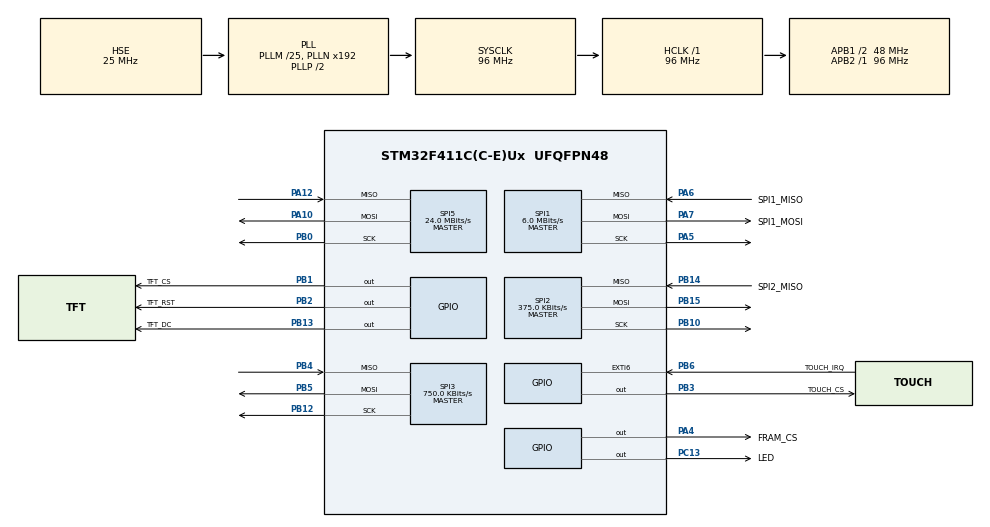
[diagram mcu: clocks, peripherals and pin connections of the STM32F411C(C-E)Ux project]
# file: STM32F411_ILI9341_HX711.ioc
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Dma.Request0=SPI2_TX
Dma.Request1=SPI5_TX
Dma.Request2=SPI2_RX
Dma.SPI2_RX.2.Direction=DMA_PERIPH_TO_MEMORY
Dma.SPI2_RX.2.FIFOMode=DMA_FIFOMODE_DISABLE
Dma.SPI2_RX.2.Instance=DMA1_Stream3
Dma.SPI2_RX.2.MemDataAlignment=DMA_MDATAALIGN_BYTE
Dma.SPI2_RX.2.MemInc=DMA_MINC_ENABLE
Dma.SPI2_RX.2.Mode=DMA_NORMAL
Dma.SPI2_RX.2.PeriphDataAlignment=DMA_PDATAALIGN_BYTE
Dma.SPI2_RX.2.PeriphInc=DMA_PINC_DISABLE
Dma.SPI2_RX.2.Priority=DMA_PRIORITY_LOW
Dma.SPI2_TX.0.Direction=DMA_MEMORY_TO_PERIPH
Dma.SPI2_TX.0.FIFOMode=DMA_FIFOMODE_DISABLE
Dma.SPI2_TX.0.Instance=DMA1_Stream4
Dma.SPI2_TX.0.MemDataAlignment=DMA_MDATAALIGN_BYTE
Dma.SPI2_TX.0.MemInc=DMA_MINC_ENABLE
Dma.SPI2_TX.0.Mode=DMA_NORMAL
Dma.SPI2_TX.0.PeriphDataAlignment=DMA_PDATAALIGN_BYTE
Dma.SPI2_TX.0.PeriphInc=DMA_PINC_DISABLE
Dma.SPI2_TX.0.Priority=DMA_PRIORITY_LOW
Dma.SPI5_TX.1.Direction=DMA_MEMORY_TO_PERIPH
Dma.SPI5_TX.1.FIFOMode=DMA_FIFOMODE_DISABLE
Dma.SPI5_TX.1.Instance=DMA2_Stream4
Dma.SPI5_TX.1.MemDataAlignment=DMA_MDATAALIGN_BYTE
Dma.SPI5_TX.1.MemInc=DMA_MINC_ENABLE
Dma.SPI5_TX.1.Mode=DMA_NORMAL
Dma.SPI5_TX.1.PeriphDataAlignment=DMA_PDATAALIGN_BYTE
Dma.SPI5_TX.1.PeriphInc=DMA_PINC_DISABLE
Dma.SPI5_TX.1.Priority=DMA_PRIORITY_LOW
Mcu.Family=STM32F4
Mcu.Name=STM32F411C(C-E)Ux
Mcu.Package=UFQFPN48
NVIC.DMA1_Stream3_IRQn=true\:0\:0\:false\:false\:true\:false\:true\:true
NVIC.DMA1_Stream4_IRQn=true\:0\:0\:false\:false\:true\:false\:true\:true
NVIC.DMA2_Stream4_IRQn=true\:0\:0\:false\:true\:true\:2\:false\:true\:true
NVIC.EXTI9_5_IRQn=true\:0\:0\:false\:true\:true\:1\:true\:true\:true
NVIC.PriorityGroup=NVIC_PRIORITYGROUP_4
NVIC.TIM2_IRQn=true\:0\:0\:false\:false\:true\:true\:true\:true
PA10.Mode=Full_Duplex_Master
PA10.Signal=SPI5_MOSI
PA12.Mode=Full_Duplex_Master
PA12.Signal=SPI5_MISO
PA13.Mode=Serial_Wire
PA13.Signal=SYS_JTMS-SWDIO
PA14.Mode=Serial_Wire
PA14.Signal=SYS_JTCK-SWCLK
PA4.GPIO_Label=FRAM_CS
PA4.Signal=GPIO_Output
PA5.Mode=Full_Duplex_Master
PA5.Signal=SPI1_SCK
PA6.GPIO_Label=SPI1_MISO
PA6.Mode=Full_Duplex_Master
PA6.Signal=SPI1_MISO
PA7.GPIO_Label=SPI1_MOSI
PA7.Mode=Full_Duplex_Master
PA7.Signal=SPI1_MOSI
PB0.Mode=Full_Duplex_Master
PB0.Signal=SPI5_SCK
PB1.GPIO_Label=TFT_CS
PB1.Signal=GPIO_Output
PB10.Mode=Full_Duplex_Master
PB10.Signal=SPI2_SCK
PB12.Mode=Full_Duplex_Master
PB12.Signal=SPI3_SCK
PB13.GPIO_Label=TFT_DC
PB13.Signal=GPIO_Output
PB14.GPIO_Label=SPI2_MISO
PB14.Mode=Full_Duplex_Master
PB14.Signal=SPI2_MISO
PB15.Mode=Full_Duplex_Master
PB15.Signal=SPI2_MOSI
PB2.GPIO_Label=TFT_RST
PB2.GPIO_PuPd=GPIO_PULLUP
PB2.PinState=GPIO_PIN_SET
PB2.Signal=GPIO_Output
PB3.GPIO_Label=TOUCH_CS
PB3.Signal=GPIO_Output
PB4.Mode=Full_Duplex_Master
PB4.Signal=SPI3_MISO
PB5.Mode=Full_Duplex_Master
PB5.Signal=SPI3_MOSI
PB6.GPIO_Label=TOUCH_IRQ
PB6.GPIO_ModeDefaultEXTI=GPIO_MODE_IT_FALLING
PB6.Signal=GPXTI6
PC13-ANTI_TAMP.GPIO_Label=LED
PC13-ANTI_TAMP.Signal=GPIO_Output
PC14-OSC32_IN.Mode=LSE-External-Oscillator
PC14-OSC32_IN.Signal=RCC_OSC32_IN
PC15-OSC32_OUT.Mode=LSE-External-Oscillator
PC15-OSC32_OUT.Signal=RCC_OSC32_OUT
PH0\ -\ OSC_IN.Mode=HSE-External-Oscillator
PH0\ -\ OSC_IN.Signal=RCC_OSC_IN
PH1\ -\ OSC_OUT.Mode=HSE-External-Oscillator
PH1\ -\ OSC_OUT.Signal=RCC_OSC_OUT
ProjectManager.HeapSize=0x200
ProjectManager.StackSize=0x400
ProjectManager.TargetToolchain=STM32CubeIDE
RCC.48MHZClocksFreq_Value=48000000
RCC.AHBFreq_Value=96000000
RCC.APB1CLKDivider=RCC_HCLK_DIV2
RCC.APB1Freq_Value=48000000
RCC.APB1TimFreq_Value=96000000
RCC.APB2Freq_Value=96000000
RCC.APB2TimFreq_Value=96000000
RCC.CortexFreq_Value=96000000
RCC.HCLKFreq_Value=96000000
RCC.HSE_VALUE=25000000
RCC.HSI_VALUE=16000000
RCC.PLLM=25
RCC.PLLSourceVirtual=RCC_PLLSOURCE_HSE
RCC.SYSCLKFreq_VALUE=96000000
RCC.SYSCLKSource=RCC_SYSCLKSOURCE_PLLCLK
RCC.VCOOutputFreq_Value=192000000
SPI1.BaudRatePrescaler=SPI_BAUDRATEPRESCALER_16
SPI1.CalculateBaudRate=6.0 MBits/s
SPI1.Direction=SPI_DIRECTION_2LINES
SPI1.Mode=SPI_MODE_MASTER
SPI1.VirtualType=VM_MASTER
SPI2.BaudRatePrescaler=SPI_BAUDRATEPRESCALER_128
SPI2.CalculateBaudRate=375.0 KBits/s
SPI2.Direction=SPI_DIRECTION_2LINES
SPI2.Mode=SPI_MODE_MASTER
SPI2.VirtualType=VM_MASTER
SPI3.BaudRatePrescaler=SPI_BAUDRATEPRESCALER_64
SPI3.CalculateBaudRate=750.0 KBits/s
SPI3.Direction=SPI_DIRECTION_2LINES
SPI3.Mode=SPI_MODE_MASTER
SPI3.VirtualType=VM_MASTER
SPI5.BaudRatePrescaler=SPI_BAUDRATEPRESCALER_4
SPI5.CalculateBaudRate=24.0 MBits/s
SPI5.Direction=SPI_DIRECTION_2LINES
SPI5.Mode=SPI_MODE_MASTER
SPI5.VirtualType=VM_MASTER
STMicroelectronics.X-CUBE-TOUCHGFX.4.23.2.ApplicationCcGraphicsJjApplication=TouchGFXOoGenerator
STMicroelectronics.X-CUBE-TOUCHGFX.4.23.2.tgfx_block_size=25600
STMicroelectronics.X-CUBE-TOUCHGFX.4.23.2.tgfx_buffering_strategy=Partial
STMicroelectronics.X-CUBE-TOUCHGFX.4.23.2.tgfx_custom_height=240
STMicroelectronics.X-CUBE-TOUCHGFX.4.23.2.tgfx_custom_width=320
STMicroelectronics.X-CUBE-TOUCHGFX.4.23.2_IsPackSelfContextualization=true
TIM2.Period=15
TIM2.Prescaler=47999
VP_CRC_VS_CRC.Mode=CRC_Activate
VP_STMicroelectronics.X-CUBE-TOUCHGFX_VS_GraphicsJjApplication_4.23.2.Mode=GraphicsJjApplication
VP_TIM2_VS_ClockSourceINT.Mode=Internal
board=custom

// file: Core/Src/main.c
/* USER CODE BEGIN Header */
/**
  ******************************************************************************
  * @file           : main.c
  * @brief          : Main program body
  ******************************************************************************
  * @attention
  *
  * Copyright (c) 2023 STMicroelectronics.
  * All rights reserved.
  *
  * This software is licensed under terms that can be found in the LICENSE file
  * in the root directory of this software component.
  * If no LICENSE file comes with this software, it is provided AS-IS.
  *
  ******************************************************************************
  */
/* USER CODE END Header */
#include "main.h"
#include "crc.h"
#include "dma.h"
#include "spi.h"
#include "tim.h"
#include "gpio.h"
#include "app_touchgfx.h"

/* USER CODE BEGIN Includes */

#include "../../Drivers/MB85RS64V/fram.h"
#include "../../Drivers/ili9341/core.h"
#include "../../Drivers/XPT2046/XPT2046.h"
#include "simple_filters.h"
#include "math.h"
/* USER CODE END Includes */

/* USER CODE BEGIN PD */
#define FRAM_CS_DISABLE HAL_GPIO_WritePin(FRAM_CS_GPIO_Port, FRAM_CS_Pin, 1)
#define DISPLAY_REFRESH_DELAY_MS 500
/* USER CODE END PD */

/* USER CODE BEGIN PV */

//typedef struct
//{
//	int32_t weight_avg;;
//	uint32_t raw_avg;
//} weight_data_avg_t;

uint8_t TxData[8] = { 0b0000000, 0x00000001, 0b01010101, 0b01010101, 0b01010101, 0b01010101, 0b01010101, 0b01010101 };  // clock, 25 ticks
uint8_t RxData[8];
//uint64_t raw_reading;
uint8_t sensor_read_flag = 0;

int32_t weight_avg;
uint32_t raw_avg;
uint32_t raw_avg_offset;
uint32_t SoftTimer;

//double CalibrationX0 = 0;
//double CalibrationY0 = 0;
//double CalibrationX1 = 0;
//double CalibrationY1 = 0;
uint32_t CalibrationX0 = CALIBRATION_X0;
uint32_t CalibrationY0 = CALIBRATION_Y0;
uint32_t CalibrationX1 = CALIBRATION_X1;
uint32_t CalibrationY1 = CALIBRATION_Y1;

/* USER CODE END PV */

void SystemClock_Config(void);
static void MX_NVIC_Init(void);
/* USER CODE BEGIN PFP */

int32_t get_weight(uint64_t  result);
uint64_t get_raw_weight();
void doMeasure (void);
void doMemories(void);

void HAL_SPI_TxRxCpltCallback(SPI_HandleTypeDef *hspi)
{
	if (hspi->Instance == SPI2)
	{
		sensor_read_flag = 1;
	}
}

/* USER CODE END PFP */

/* USER CODE BEGIN 0 */
extern void touchgfxSignalVSync(void);

void HAL_TIM_PeriodElapsedCallback(TIM_HandleTypeDef *htim)
{
	if (htim->Instance == TIM2) {
		touchgfxSignalVSync();  //i'am dk why but i turned off the vSync in Cube but i still have to get infi :/
	}
}
/* USER CODE END 0 */

int main(void)
{

  /* MCU Configuration--------------------------------------------------------*/

  /* Reset of all peripherals, Initializes the Flash interface and the Systick. */
  HAL_Init();

  /* Configure the system clock */
  SystemClock_Config();

  /* USER CODE BEGIN SysInit */

  FRAM_CS_DISABLE;

  /* USER CODE END SysInit */

  /* Initialize all configured peripherals */
  MX_GPIO_Init();
  MX_DMA_Init();
  MX_SPI1_Init();
  MX_SPI2_Init();
  MX_SPI3_Init();
  MX_TIM2_Init();
  MX_CRC_Init();
  MX_SPI5_Init();
  MX_TouchGFX_Init();

  /* Initialize interrupts */
  MX_NVIC_Init();
  /* USER CODE BEGIN 2 */
  setSPI_FRAM_Handle(&hspi1);
  FRAM_init();
  doMemories();
  HAL_TIM_Base_Start_IT(&htim2);
  ILI9341_Init();
  XPT2046_Init(&hspi3, EXTI9_5_IRQn);
  touchgfxSignalVSync();

//  DoCalibration();

  HAL_SPI_TransmitReceive_DMA(&hspi2, (uint8_t*) (&TxData),(uint8_t*) (&RxData), sizeof(TxData));
  SoftTimer = HAL_GetTick();
  filter_moving_average_init();
  filter_median_init();
  raw_avg_offset = CalibrationX0;
  /* USER CODE END 2 */

  /* Infinite loop */
  /* USER CODE BEGIN WHILE */
  while (1)
  {

	  XPT2046_Task();

	  doMeasure();

    /* USER CODE END WHILE */

  MX_TouchGFX_Process();
  }
}

void SystemClock_Config(void)
{
  RCC_OscInitTypeDef RCC_OscInitStruct = {0};
  RCC_ClkInitTypeDef RCC_ClkInitStruct = {0};

  /** Configure the main internal regulator output voltage
  */
  __HAL_RCC_PWR_CLK_ENABLE();
  __HAL_PWR_VOLTAGESCALING_CONFIG(PWR_REGULATOR_VOLTAGE_SCALE1);

  /** Initializes the RCC Oscillators according to the specified parameters
  * in the RCC_OscInitTypeDef structure.
  */
  RCC_OscInitStruct.OscillatorType = RCC_OSCILLATORTYPE_HSE;
  RCC_OscInitStruct.HSEState = RCC_HSE_ON;
  RCC_OscInitStruct.PLL.PLLState = RCC_PLL_ON;
  RCC_OscInitStruct.PLL.PLLSource = RCC_PLLSOURCE_HSE;
  RCC_OscInitStruct.PLL.PLLM = 25;
  RCC_OscInitStruct.PLL.PLLN = 192;
  RCC_OscInitStruct.PLL.PLLP = RCC_PLLP_DIV2;
  RCC_OscInitStruct.PLL.PLLQ = 4;
  if (HAL_RCC_OscConfig(&RCC_OscInitStruct) != HAL_OK)
  {
    Error_Handler();
  }

  /** Initializes the CPU, AHB and APB buses clocks
  */
  RCC_ClkInitStruct.ClockType = RCC_CLOCKTYPE_HCLK|RCC_CLOCKTYPE_SYSCLK
                              |RCC_CLOCKTYPE_PCLK1|RCC_CLOCKTYPE_PCLK2;
  RCC_ClkInitStruct.SYSCLKSource = RCC_SYSCLKSOURCE_PLLCLK;
  RCC_ClkInitStruct.AHBCLKDivider = RCC_SYSCLK_DIV1;
  RCC_ClkInitStruct.APB1CLKDivider = RCC_HCLK_DIV2;
  RCC_ClkInitStruct.APB2CLKDivider = RCC_HCLK_DIV1;

  if (HAL_RCC_ClockConfig(&RCC_ClkInitStruct, FLASH_LATENCY_3) != HAL_OK)
  {
    Error_Handler();
  }
}

/**
  * @brief NVIC Configuration.
  * @retval None
  */
static void MX_NVIC_Init(void)
{
  /* EXTI9_5_IRQn interrupt configuration */
  HAL_NVIC_SetPriority(EXTI9_5_IRQn, 0, 0);
  HAL_NVIC_EnableIRQ(EXTI9_5_IRQn);
  /* DMA2_Stream4_IRQn interrupt configuration */
  NVIC_SetPriority(DMA2_Stream4_IRQn, NVIC_EncodePriority(NVIC_GetPriorityGrouping(),0, 0));
  NVIC_EnableIRQ(DMA2_Stream4_IRQn);
}

/* USER CODE BEGIN 4 */

void HAL_GPIO_EXTI_Callback(uint16_t GPIO_Pin)
{
	if(GPIO_Pin == TOUCH_IRQ_Pin)
	{
		XPT2046_IRQ();
	}

}
void doMemories(void)	{

//	typedef union
//	{
//	    uint32_t split[2];
//	    double d_value;
//	} split_double;
//	split_double cx0 = {0};
//	split_double cy0 = {0};
//	split_double cx1 = {0};
//	split_double cy1 = {0};

	uint32_t cx0_value;
	uint32_t cy0_value;
	uint32_t cx1_value;
	uint32_t cy1_value;

	uint8_t memory_init = FRAM_read8(0x0000);
	if (memory_init != 0xCC)	{
		FRAM_write8(0x0000, 0xCC);
		cx0_value = CalibrationX0;
		cy0_value = CalibrationY0;
		cx1_value = CalibrationX1;
		cy1_value = CalibrationY1;
		FRAM_write32(0x0001, cx0_value);
		FRAM_write32(0x0005, cy0_value);
		FRAM_write32(0x0009, cx1_value);
		FRAM_write32(0x000D, cy1_value);
//		FRAM_write32(0x0011, cx1.split[0]);
//		FRAM_write32(0x0015, cx1.split[1]);
//		FRAM_write32(0x0019, cy1.split[0]);
//		FRAM_write32(0x001D, cy1.split[1]);
	}

	else	{

		cx0_value = FRAM_read32(0x0001);
		cy0_value = FRAM_read32(0x0005);
		cx1_value = FRAM_read32(0x0009);
		cy1_value = FRAM_read32(0x000D);
//		cx1.split[0] = FRAM_read32(0x0011);
//		cx1.split[1] = FRAM_read32(0x0015);
//		cy1.split[0] = FRAM_read32(0x0019);
//		cy1.split[1] = FRAM_read32(0x001D);

		CalibrationX0 = cx0_value;
		CalibrationY0 = cy0_value;
		CalibrationX1 = cx1_value;
		CalibrationY1 = cy1_value;
	}

}

void saveMemories(void)	{

//	typedef union
//	{
//	    uint32_t split[2];
//	    double d_value;
//	} split_double;
//	split_double cx0 = {0};
//	split_double cy0 = {0};
//	split_double cx1 = {0};
//	split_double cy1 = {0};
//	cx0.d_value = CalibrationX0;
//	cy0.d_value = CalibrationY0;
//	cx1.d_value = CalibrationX1;
//	cy1.d_value = CalibrationY1;

	uint32_t  cx0_value = CalibrationX0;
	uint32_t  cy0_value = CalibrationY0;
	uint32_t  cx1_value = CalibrationX1;
	uint32_t  cy1_value = CalibrationY1;

	uint8_t memory_init = FRAM_read8(0x0000);
	if (memory_init == 0xCC)	{
		//FRAM_write8(0x0000, 0xCC);
		FRAM_write32(0x0001, cx0_value);
		FRAM_write32(0x0005, cy0_value);
		FRAM_write32(0x0009, cx1_value);
		FRAM_write32(0x000D, cy1_value);
//		FRAM_write32(0x0011, cx1.split[0]);
//		FRAM_write32(0x0015, cx1.split[1]);
//		FRAM_write32(0x0019, cy1.split[0]);
//		FRAM_write32(0x001D, cy1.split[1]);
	}

}

void doMeasure (void) {

	int32_t weight_avg_temp;
	uint32_t raw_avg_temp;

	if (sensor_read_flag == 1)
	{
		//get_raw_weight( &raw );
		raw_avg_temp = filter_moving_average(get_raw_weight());
		weight_avg_temp  = filter_median(get_weight(raw_avg)- get_weight(raw_avg_offset));
	}

	if ((sensor_read_flag == 1) && (HAL_GPIO_ReadPin(SPI2_MISO_GPIO_Port, SPI2_MISO_Pin) == GPIO_PIN_RESET))
	{
		sensor_read_flag = 0;
		HAL_SPI_TransmitReceive_DMA(&hspi2, (uint8_t*) (&TxData), (uint8_t*) (&RxData), sizeof(TxData));
	}

	if ((HAL_GetTick() - SoftTimer) > DISPLAY_REFRESH_DELAY_MS) {

		raw_avg = raw_avg_temp;

		if	(weight_avg_temp > (SENSOR_MAXIMUM_IN_GRAM - LOAD_PLATFORM_WEIGHT_IN_GRAM)  )
		{
			weight_avg = SENSOR_MAXIMUM_IN_GRAM - LOAD_PLATFORM_WEIGHT_IN_GRAM;
		}
		else
		{
			weight_avg  = weight_avg_temp;
		}

		SoftTimer = HAL_GetTick();
	 }

}

uint64_t get_raw_weight()	{

	uint64_t raw_reading = (((uint64_t) (RxData[7] & 0b00000010)) >> 1)
	| (((uint64_t) (RxData[7] & 0b00001000)) >> 2)
	| (((uint64_t) (RxData[7] & 0b00100000)) >> 3)
	| (((uint64_t) (RxData[7] & 0b10000000)) >> 4)
	| (((uint64_t) (RxData[6] & 0b00000010)) << 3)
	| (((uint64_t) (RxData[6] & 0b00001000)) << 2)
	| (((uint64_t) (RxData[6] & 0b00100000)) << 1)
	| (((uint64_t) (RxData[6] & 0b10000000)) << 0) |

	(((uint64_t) (RxData[5] & 0b00000010)) << 7)
	| (((uint64_t) (RxData[5] & 0b00001000)) << 6)
	| (((uint64_t) (RxData[5] & 0b00100000)) << 5)
	| (((uint64_t) (RxData[5] & 0b10000000)) << 4)
	| (((uint64_t) (RxData[4] & 0b00000010)) << 11)
	| (((uint64_t) (RxData[4] & 0b00001000)) << 10)
	| (((uint64_t) (RxData[4] & 0b00100000)) << 9)
	| (((uint64_t) (RxData[4] & 0b10000000)) << 8) |

	(((uint64_t) (RxData[3] & 0b00000010)) << 15)
	| (((uint64_t) (RxData[3] & 0b00001000)) << 14)
	| (((uint64_t) (RxData[3] & 0b00100000)) << 13)
	| (((uint64_t) (RxData[3] & 0b10000000)) << 12)
	| (((uint64_t) (RxData[2] & 0b00000010)) << 19)
	| (((uint64_t) (RxData[2] & 0b00001000)) << 18)
	| (((uint64_t) (RxData[2] & 0b00100000)) << 17)
	| (((uint64_t) (RxData[2] & 0b10000000)) << 16) |

	(((uint64_t) (RxData[1] & 0b00000010)) << 23)
	| (((uint64_t) (RxData[1] & 0b00001000)) << 22)
	| (((uint64_t) (RxData[1] & 0b00100000)) << 21)
	| (((uint64_t) (RxData[1] & 0b10000000)) << 20);

return raw_reading;
}

int32_t get_weight(uint64_t  raw_reading )	{

	int32_t result = round (((double)CalibrationY1 - CalibrationY0) / (CalibrationX1 - CalibrationX0) * ((double)raw_reading - CalibrationX1) + CalibrationY1);
	return result;
}

/* USER CODE END 4 */

void Error_Handler(void)
{
  __disable_irq();
  while (1)
  {
  }
}
